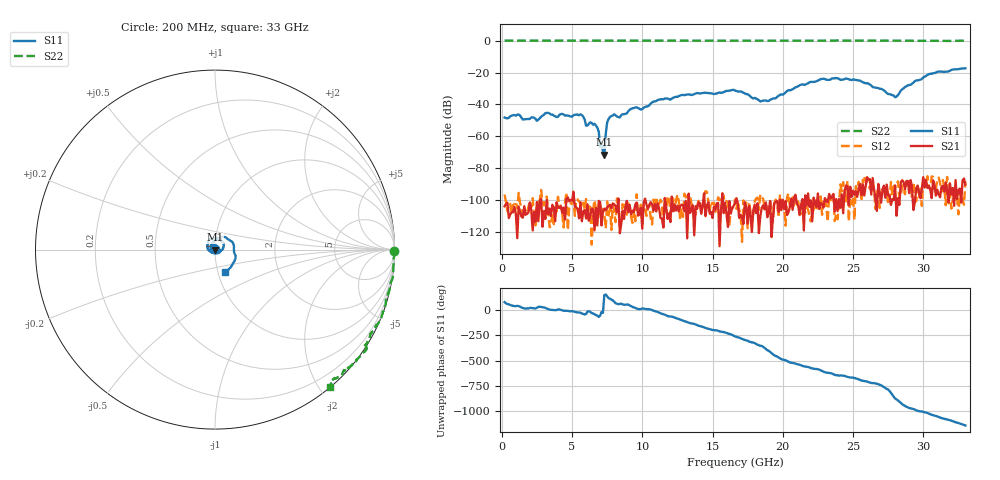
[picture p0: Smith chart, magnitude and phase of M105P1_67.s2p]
# GHZ S RI R 50
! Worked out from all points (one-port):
!   329 points, 200 MHz to 33 GHz, reference 50 ohm
!   lowest |S11| = -71.5 dB at 7.3 GHz (marker M1), VSWR 1.00, Z = 50 + j0.012 ohm
!   |S11| at or under -10 dB: start of sweep to end of sweep
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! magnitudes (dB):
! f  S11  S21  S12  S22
! 200 MHz  -48.2  -103.9  -96.5  0.0
! 2.5 GHz  -50.3  -101.1  -102.4  0.0
! 3.2 GHz  -45.3  -99.9  -97.8  0.0
! 5.7 GHz  -46.7  -113.2  -104.4  0.0
! 6 GHz  -53.3  -111.4  -99.3  0.0
! 6.8 GHz  -54.6  -115.9  -104.1  0.0
! 6.9 GHz  -56.9  -100.5  -111.5  0.0
! 7 GHz  -66.6  -101.2  -102.6  0.0
! 7.1 GHz  -63.8  -115.9  -106.0  0.0
! 7.3 GHz  -71.5  -105.3  -108.7  0.0
! 7.4 GHz  -58.5  -106.4  -117.7  0.0
! 7.5 GHz  -51.2  -104.5  -100.9  0.0
! 7.7 GHz  -47.9  -103.0  -102.9  0.0
! 11.2 GHz  -37.0  -105.3  -102.0  0.0
! 16.6 GHz  -31.3  -101.8  -99.7  0.0
! 19 GHz  -37.8  -107.7  -102.6  -0.1
! 22.1 GHz  -25.9  -113.2  -106.2  0.0
! 25.1 GHz  -24.5  -96.6  -112.3  0.0
! 27.6 GHz  -33.5  -97.1  -100.6  0.0
! 28.1 GHz  -35.1  -109.7  -91.0  -0.1
! 30.5 GHz  -20.7  -93.5  -93.5  -0.1
! 33 GHz  -17.3  -90.3  -88.2  0.0
